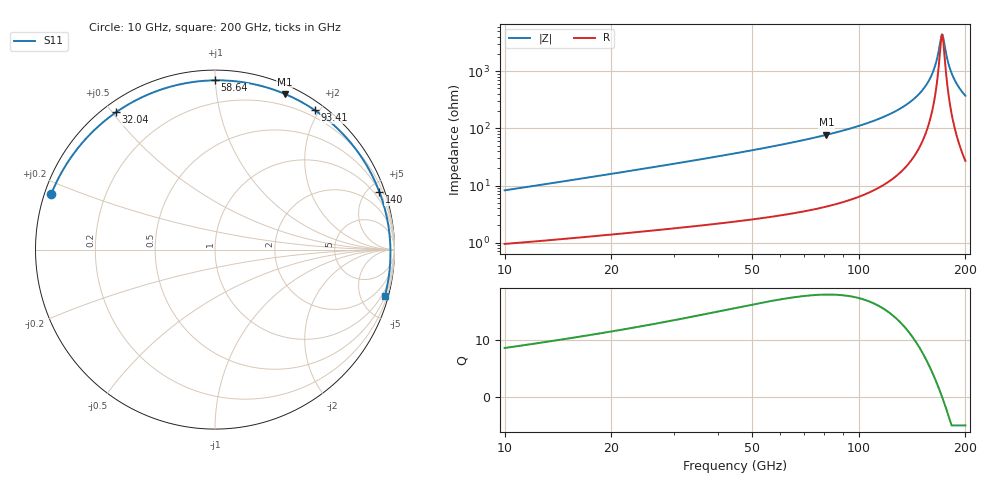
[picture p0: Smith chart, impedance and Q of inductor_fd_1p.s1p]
! TOUCHSTONE file generated by CST MICROWAVE STUDIO
! Date and time: Tue Sep 15 12:52:05 2026
! Project name: inductor_fd_1p.cst
! Header version: 2024
! Port assignment regex: !\s*Touchstone port\s*([0-9]+)\s*=\s*(CST MWS port|CST DES external port|CST DES block port)\s*(.+)\s* \(\"(.*)\"\)(\s*mode\s*([0-9]+))?.*
! Touchstone port assignment:
! Touchstone port 1 = CST MWS port 1 ("")
# GHz S MA R 50
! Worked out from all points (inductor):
!   1001 points, 10 GHz to 200 GHz, reference 50 ohm
!   read as one part to ground: L = 126 pH near 10.95 GHz
!   highest Q = 18 at 81.06 GHz (marker M1), where L = 151 pH
!   self-resonance near 171.9 GHz
!   S11 on the Smith chart (normalised r, x): 10 GHz: 0.02, +0.16; 32.04 GHz: 0.04, +0.51; 58.64 GHz: 0.06, +1.00; 93.41 GHz: 0.11, +1.94; 140 GHz: 0.53, +5.85; 200 GHz: 0.54, -7.45
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10  0.9637 161.4
10.95  0.9622 159.8
15.32  0.9562 152.4
21.78  0.9494 141.7
26.91  0.9456 133.6
32.04  0.943 125.7
33.75  0.9424 123.2
39.45  0.9412 115.0
45.15  0.9409 107.1
51.23  0.9415 99.1
57.5  0.9428 91.4
58.64  0.9431 90.0
63.77  0.9445 84.0
69.28  0.9463 77.9
74.98  0.9484 71.9
81.06  0.9506 65.8
81.25  0.9507 65.6
87.33  0.953 59.8
93.41  0.9553 54.3
105  0.9596 44.5
116.59  0.9636 35.5
128.75  0.9674 26.8
139.96  0.9706 19.2
152.5  0.9737 11.4
164.09  0.9762 4.5
176.25  0.9783 -2.4
187.65  0.9799 -8.7
200  0.9811 -15.2
